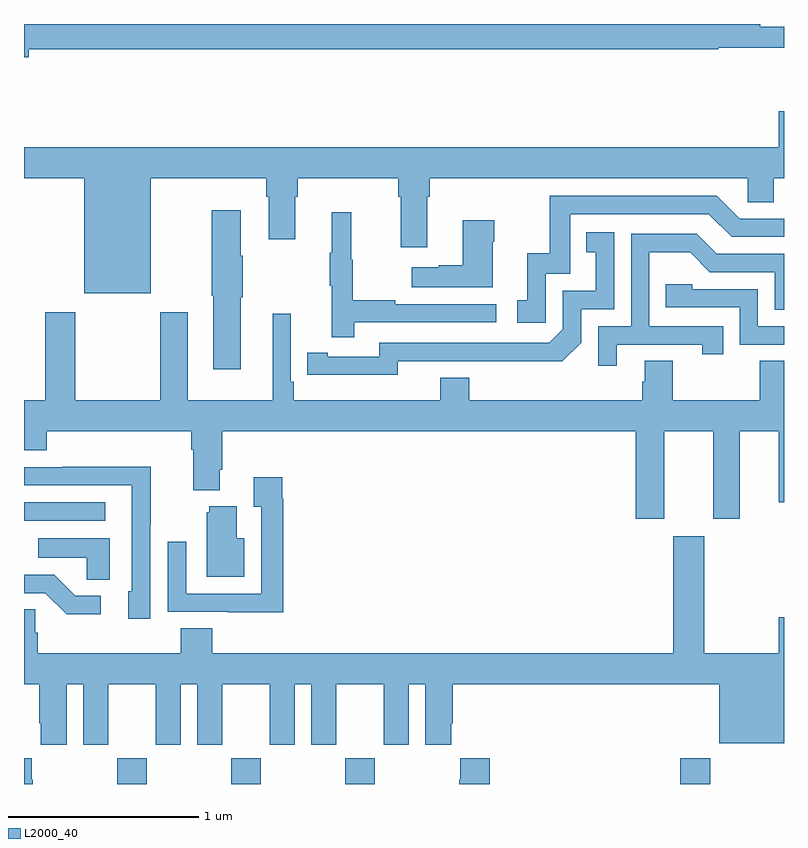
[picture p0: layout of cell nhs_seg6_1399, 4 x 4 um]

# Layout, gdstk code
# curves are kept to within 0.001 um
import gdstk
lib = gdstk.Library(unit=1e-6, precision=1e-09)
def R(c, l, rs):  # rectangles x0, y0, x1, y1
    for r in rs: c.add(gdstk.rectangle(r[:2], r[2:], *l))
def A(c, l, x, y, w, h, nx, ny, dx, dy):  # array of equal rectangles
    R(c, l, [(x+i*dx, y+j*dy, x+i*dx+w, y+j*dy+h) for i in range(nx) for j in range(ny)])
def P(c, l, *ps):  # polygons
    for p in ps: c.add(gdstk.Polygon(p, *l))
L2000_40 = (2000, 40)

nhs_seg6_1399 = lib.new_cell('nhs_seg6_1399')
A(nhs_seg6_1399, L2000_40, 197.491, 925.5, 0.155, 0.136, 3, 1, 0.6, 0)
R(nhs_seg6_1399, L2000_40, [(200.453,925.5,200.613,925.636), (197,926.886,197.428,926.982)])
P(nhs_seg6_1399, L2000_40, [(197.026,929.368),(200.655,929.368),(200.655,929.376),(201,929.376),(201,929.485),(200.876,929.485),(200.876,929.5),(197,929.5),(197,929.326),(197.026,929.326)],
  [(197.668,928.688),(198.275,928.688),(198.275,928.592),(198.287,928.592),(198.287,928.368),(198.427,928.368),(198.427,928.592),(198.44,928.592),(198.44,928.688),(198.971,928.688),(198.971,928.592),(198.983,928.592),(198.983,928.326),(199.123,928.326),(199.123,928.592),(199.136,928.592),(199.136,928.688),(200.808,928.688),(200.808,928.561),(200.947,928.561),(200.947,928.688),(201,928.688),(201,929.041),(200.972,929.041),(200.972,928.852),(197,928.852),(197,928.688),(197.318,928.688),(197.318,928.082),(197.668,928.082)],
  [(199.746,928.185),(199.875,928.185),(199.875,928.5),(200.604,928.5),(200.724,928.38),(201,928.38),(201,928.476),(200.766,928.476),(200.646,928.596),(199.767,928.596),(199.767,928.294),(199.649,928.294),(199.649,928.047),(199.596,928.047),(199.596,927.927),(199.746,927.927)],
  [(198.142,928.063),(198.15,928.063),(198.15,928.28),(198.142,928.28),(198.142,928.519),(197.989,928.519),(197.989,928.069),(197.996,928.069),(197.996,927.684),(198.142,927.684)],
  [(198.737,927.93),(199.486,927.93),(199.486,928.026),(198.953,928.026),(198.953,928.046),(198.73,928.046),(198.73,928.26),(198.722,928.26),(198.722,928.51),(198.62,928.51),(198.62,928.297),(198.609,928.297),(198.609,928.123),(198.62,928.123),(198.62,927.852),(198.737,927.852)],
  [(199.468,928.355),(199.476,928.355),(199.476,928.468),(199.31,928.468),(199.31,928.229),(199.184,928.229),(199.184,928.219),(199.041,928.219),(199.041,928.115),(199.468,928.115)],
  [(198.966,927.726),(199.834,927.725),(199.932,927.822),(199.932,927.999),(200.106,927.999),(200.106,928.405),(199.96,928.405),(199.96,928.299),(200.009,928.299),(200.009,928.095),(199.836,928.095),(199.836,927.894),(199.764,927.822),(198.87,927.822),(198.87,927.75),(198.598,927.75),(198.598,927.77),(198.49,927.77),(198.49,927.654),(198.966,927.653)],
  [(200.119,927.813),(200.57,927.813),(200.57,927.762),(200.681,927.762),(200.681,927.909),(200.292,927.909),(200.292,928.298),(200.506,928.298),(200.61,928.194),(200.952,928.194),(200.952,927.996),(201,927.996),(201,928.29),(200.647,928.29),(200.542,928.395),(200.196,928.395),(200.196,927.909),(200.022,927.909),(200.022,927.702),(200.119,927.702)],
  [(201,927.909),(200.862,927.909),(200.862,928.104),(200.517,928.104),(200.517,928.131),(200.377,928.131),(200.377,928.008),(200.766,928.008),(200.766,927.813),(201,927.813)],
  [(200.371,927.356),(200.627,927.356),(200.627,926.895),(200.767,926.895),(200.767,927.356),(200.972,927.356),(200.972,926.982),(201,926.982),(201,927.728),(200.872,927.728),(200.872,927.52),(200.415,927.52),(200.415,927.728),(200.267,927.728),(200.267,927.618),(200.255,927.618),(200.255,927.52),(199.343,927.52),(199.343,927.637),(199.19,927.637),(199.19,927.52),(198.419,927.52),(198.419,927.616),(198.405,927.616),(198.405,927.976),(198.308,927.976),(198.308,927.52),(197.863,927.52),(197.863,927.982),(197.716,927.982),(197.716,927.52),(197.271,927.52),(197.271,927.982),(197.111,927.982),(197.111,927.52),(197,927.52),(197,927.257),(197.12,927.257),(197.12,927.356),(197.879,927.356),(197.879,927.26),(197.891,927.26),(197.891,927.047),(198.031,927.047),(198.031,927.154),(198.044,927.154),(198.044,927.356),(200.219,927.356),(200.219,926.895),(200.371,926.895)],
  [(197.664,926.863),(197.667,926.863),(197.667,927.17),(197.203,927.17),(197.203,927.168),(197,927.168),(197,927.072),(197.568,927.072),(197.568,926.514),(197.549,926.514),(197.549,926.37),(197.664,926.37)],
  [(198.365,927.002),(198.358,927.002),(198.358,927.115),(198.209,927.115),(198.209,926.959),(198.249,926.959),(198.249,926.502),(197.853,926.502),(197.853,926.776),(197.757,926.776),(197.757,926.406),(198.073,926.406),(198.073,926.405),(198.365,926.405)],
  [(198.16,926.794),(198.121,926.794),(198.121,926.962),(197.975,926.962),(197.975,926.931),(197.963,926.931),(197.963,926.591),(198.16,926.591)],
  [(197.072,926.297),(197.058,926.297),(197.058,926.42),(197,926.42),(197,926.024),(197.081,926.024),(197.081,925.819),(197.087,925.819),(197.087,925.707),(197.224,925.707),(197.224,926.024),(197.312,926.024),(197.312,925.707),(197.443,925.707),(197.443,926.024),(197.693,926.024),(197.693,925.707),(197.824,925.707),(197.824,926.024),(197.912,926.024),(197.912,925.707),(198.043,925.707),(198.043,926.024),(198.293,926.024),(198.293,925.707),(198.424,925.707),(198.424,926.024),(198.512,926.024),(198.512,925.707),(198.643,925.707),(198.643,926.024),(198.893,926.024),(198.893,925.707),(199.024,925.707),(199.024,926.024),(199.112,926.024),(199.112,925.707),(199.249,925.707),(199.249,925.819),(199.256,925.819),(199.256,926.024),(200.66,926.024),(200.66,925.715),(201,925.715),(201,926.377),(200.972,926.377),(200.972,926.188),(200.581,926.188),(200.581,926.803),(200.417,926.803),(200.417,926.188),(197.99,926.188),(197.99,926.321),(197.825,926.321),(197.825,926.188),(197.072,926.188)],
  [(197.452,926.794),(197.074,926.794),(197.074,926.69),(197.331,926.69),(197.331,926.575),(197.452,926.575)],
  [(197.404,926.49),(197.269,926.49),(197.158,926.601),(197,926.601),(197,926.505),(197.112,926.505),(197.225,926.393),(197.404,926.393)],
  [(199.451,925.636),(199.295,925.636),(199.295,925.523),(199.291,925.523),(199.291,925.5),(199.451,925.5)],
  [(197.046,925.523),(197.041,925.523),(197.041,925.636),(197,925.636),(197,925.5),(197.046,925.5)])

lib.write_gds('nhs_seg6_1399.gds')
